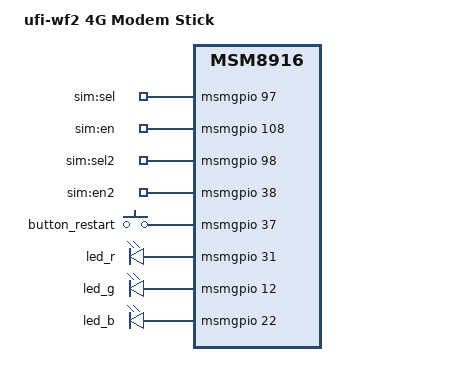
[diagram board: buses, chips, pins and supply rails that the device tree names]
// SPDX-License-Identifier: GPL-2.0-only

/dts-v1/;

#include "msm8916-mifi.dtsi"

/ {
	model = "ufi-wf2 4G Modem Stick";
	compatible = "xinxun,wf2", "qcom,msm8916";
	leds: leds {
		sim_sel {
			label = "sim:sel";
			gpios = <&msmgpio 97 GPIO_ACTIVE_HIGH>;
			default-state = "on";
		};

		sim_en {
			label = "sim:en";
			gpios = <&msmgpio 108 GPIO_ACTIVE_HIGH>;
			default-state = "off";
		};

		sim_sel2 {
			label = "sim:sel2";
			gpios = <&msmgpio 98 GPIO_ACTIVE_HIGH>;
			default-state = "off";
		};

		sim_en2 {
			label = "sim:en2";
			gpios = <&msmgpio 38 GPIO_ACTIVE_HIGH>;
			default-state = "off";
		};
	};
};

&button_restart {
	gpios = <&msmgpio 37 GPIO_ACTIVE_HIGH>;
};

&led_r {
	gpios = <&msmgpio 31 GPIO_ACTIVE_HIGH>;
};

&led_g {
	gpios = <&msmgpio 12 GPIO_ACTIVE_HIGH>;
};

&led_b {
	gpios = <&msmgpio 22 GPIO_ACTIVE_HIGH>;
};

&button_default {
	pins = "gpio37";
	bias-pull-down;
};

&gpio_leds_default {
	pins = "gpio12","gpio22","gpio31","gpio38","gpio97","gpio98", "gpio108";
};
